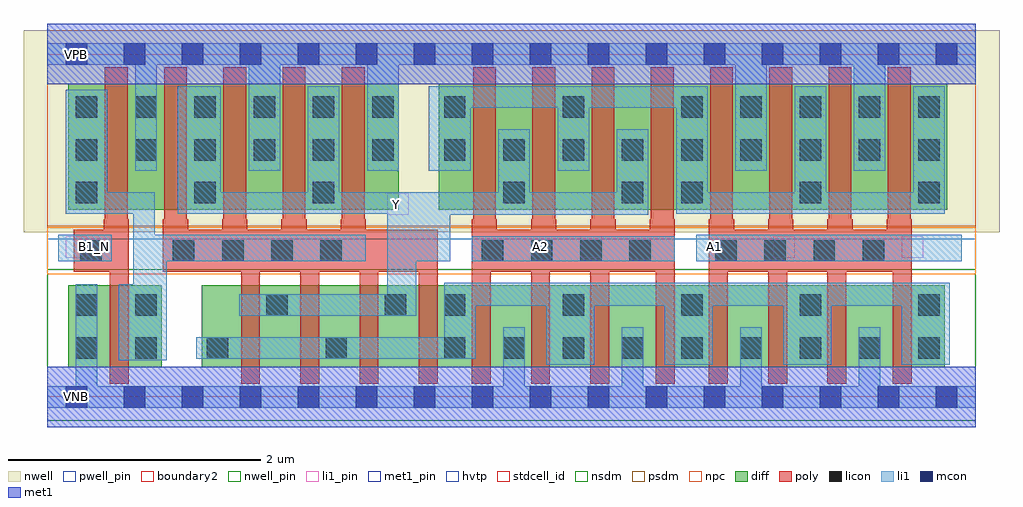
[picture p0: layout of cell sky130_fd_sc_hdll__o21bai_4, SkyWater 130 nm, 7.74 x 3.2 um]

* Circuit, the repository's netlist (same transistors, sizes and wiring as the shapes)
* Copyright 2020 The SkyWater PDK Authors
*
* Licensed under the Apache License, Version 2.0 (the "License");
* you may not use this file except in compliance with the License.
* You may obtain a copy of the License at
*
*     https://www.apache.org/licenses/LICENSE-2.0
*
* Unless required by applicable law or agreed to in writing, software
* distributed under the License is distributed on an "AS IS" BASIS,
* WITHOUT WARRANTIES OR CONDITIONS OF ANY KIND, either express or implied.
* See the License for the specific language governing permissions and
* limitations under the License.
*
* SPDX-License-Identifier: Apache-2.0

.SUBCKT sky130_fd_sc_hdll__o21bai_4 A1 A2 B1_N VGND VNB VPB VPWR Y
*.PININFO A1:I A2:I B1_N:I VGND:I VNB:I VPB:I VPWR:I Y:O
MMPA0 VPWR A1 sndA1 VPB sky130_fd_pr__pfet_01v8_hvt m=4 w=1.0U l=0.18U mult=1 sa=0.265
+ sb=0.265 sd=0.28 area=0.063 perim=1.14
MMPA1 sndA1 A2 Y VPB sky130_fd_pr__pfet_01v8_hvt m=4 w=1.0U l=0.18U mult=1 sa=0.265
+ sb=0.265 sd=0.28 area=0.063 perim=1.14
MMPB0 VPWR B1 Y VPB sky130_fd_pr__pfet_01v8_hvt m=4 w=1.0U l=0.18U mult=1 sa=0.265
+ sb=0.265 sd=0.28 area=0.063 perim=1.14
MMIPB1N B1 B1_N VPWR VPB sky130_fd_pr__pfet_01v8_hvt m=1 w=1.0U l=0.18U mult=1
+ sa=0.265 sb=0.265 sd=0.28 area=0.063 perim=1.14
MMNA0 pndA A1 VGND VNB sky130_fd_pr__nfet_01v8 m=4 w=0.65U l=0.15U mult=1 sa=0.265
+ sb=0.265 sd=0.28 area=0.063 perim=1.14
MMNA1 pndA A2 VGND VNB sky130_fd_pr__nfet_01v8 m=4 w=0.65U l=0.15U mult=1 sa=0.265
+ sb=0.265 sd=0.28 area=0.063 perim=1.14
MMNB0 Y B1 pndA VNB sky130_fd_pr__nfet_01v8 m=4 w=0.65U l=0.15U mult=1 sa=0.265
+ sb=0.265 sd=0.28 area=0.063 perim=1.14
MMINB1N B1 B1_N VGND VNB sky130_fd_pr__nfet_01v8 m=1 w=0.65U l=0.15U mult=1 sa=0.265
+ sb=0.265 sd=0.28 area=0.063 perim=1.14
.ENDS sky130_fd_sc_hdll__o21bai_4

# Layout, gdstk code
import gdstk
lib = gdstk.Library(unit=1e-6, precision=1e-09)
def R(c, l, rs):  # rectangles x0, y0, x1, y1
    for r in rs: c.add(gdstk.rectangle(r[:2], r[2:], *l))
def A(c, l, x, y, w, h, nx, ny, dx, dy):  # array of equal rectangles
    R(c, l, [(x+i*dx, y+j*dy, x+i*dx+w, y+j*dy+h) for i in range(nx) for j in range(ny)])
def P(c, l, *ps):  # polygons
    for p in ps: c.add(gdstk.Polygon(p, *l))
nwell_pin = (64, 16)
nwell = (64, 20)
diff = (65, 20)
poly = (66, 20)
licon = (66, 44)
li1_pin = (67, 16)
li1 = (67, 20)
mcon = (67, 44)
met1_pin = (68, 16)
met1 = (68, 20)
hvtp = (78, 44)
stdcell_id = (81, 4)
nsdm = (93, 44)
psdm = (94, 20)
npc = (95, 20)
pwell_pin = (122, 16)
boundary2 = (236, 0)

sky130_fd_sc_hdll__o21ba = lib.new_cell('sky130_fd_sc_hdll__o21bai_4')
R(sky130_fd_sc_hdll__o21ba, nwell_pin, [(0.145,2.635,0.315,2.805)])
R(sky130_fd_sc_hdll__o21ba, nwell, [(-0.19,1.305,7.55,2.91)])
R(sky130_fd_sc_hdll__o21ba, diff, [(0.165,0.235,0.905,0.885), (1.225,0.235,7.115,0.885), (0.165,1.485,2.785,2.485), (3.105,1.485,7.135,2.485)])
P(sky130_fd_sc_hdll__o21ba, poly, [(0.645,1.41),(0.635,1.41),(0.635,2.615),(0.455,2.615),(0.455,1.41),(0.445,1.41),(0.445,1.325),(0.21,1.325),(0.21,0.995),(0.495,0.995),(0.495,0.105),(0.645,0.105)],
  [(3.095,1.325),(2.525,1.325),(2.525,1.41),(2.515,1.41),(2.515,2.615),(2.335,2.615),(2.335,1.41),(2.325,1.41),(2.325,1.325),(2.055,1.325),(2.055,1.41),(2.045,1.41),(2.045,2.615),(1.865,2.615),(1.865,1.41),(1.855,1.41),(1.855,1.325),(1.585,1.325),(1.585,1.41),(1.575,1.41),(1.575,2.615),(1.395,2.615),(1.395,1.41),(1.385,1.41),(1.385,1.325),(1.115,1.325),(1.115,1.41),(1.105,1.41),(1.105,2.615),(0.925,2.615),(0.925,1.41),(0.915,1.41),(0.915,0.995),(1.535,0.995),(1.535,0.105),(1.685,0.105),(1.685,0.995),(2.005,0.995),(2.005,0.105),(2.155,0.105),(2.155,0.995),(2.475,0.995),(2.475,0.105),(2.625,0.105),(2.625,0.995),(2.945,0.995),(2.945,0.105),(3.095,0.105)],
  [(4.975,1.41),(4.965,1.41),(4.965,2.615),(4.785,2.615),(4.785,1.41),(4.775,1.41),(4.775,1.325),(4.505,1.325),(4.505,1.41),(4.495,1.41),(4.495,2.615),(4.315,2.615),(4.315,1.41),(4.305,1.41),(4.305,1.325),(4.035,1.325),(4.035,1.41),(4.025,1.41),(4.025,2.615),(3.845,2.615),(3.845,1.41),(3.835,1.41),(3.835,1.325),(3.565,1.325),(3.565,1.41),(3.555,1.41),(3.555,2.615),(3.375,2.615),(3.375,1.41),(3.365,1.41),(3.365,0.105),(3.515,0.105),(3.515,0.995),(3.835,0.995),(3.835,0.105),(3.985,0.105),(3.985,0.995),(4.305,0.995),(4.305,0.105),(4.455,0.105),(4.455,0.995),(4.825,0.995),(4.825,0.105),(4.975,0.105)],
  [(6.855,1.41),(6.845,1.41),(6.845,2.615),(6.665,2.615),(6.665,1.41),(6.655,1.41),(6.655,1.325),(6.385,1.325),(6.385,1.41),(6.375,1.41),(6.375,2.615),(6.195,2.615),(6.195,1.41),(6.185,1.41),(6.185,1.325),(5.915,1.325),(5.915,1.41),(5.905,1.41),(5.905,2.615),(5.725,2.615),(5.725,1.41),(5.715,1.41),(5.715,1.325),(5.445,1.325),(5.445,1.41),(5.435,1.41),(5.435,2.615),(5.255,2.615),(5.255,1.41),(5.245,1.41),(5.245,0.105),(5.395,0.105),(5.395,0.995),(5.715,0.995),(5.715,0.105),(5.865,0.105),(5.865,0.995),(6.185,0.995),(6.185,0.105),(6.335,0.105),(6.335,0.995),(6.705,0.995),(6.705,0.105),(6.855,0.105)])
A(sky130_fd_sc_hdll__o21ba, licon, 1.265, 0.305, 0.17, 0.17, 3, 1, 0.94, 0)
A(sky130_fd_sc_hdll__o21ba, licon, 3.615, 0.305, 0.17, 0.17, 8, 1, 0.47, 0)
A(sky130_fd_sc_hdll__o21ba, licon, 3.145, 0.645, 0.17, 0.17, 5, 1, 0.94, 0)
A(sky130_fd_sc_hdll__o21ba, licon, 0.995, 1.075, 0.17, 0.17, 4, 1, 0.39, 0)
A(sky130_fd_sc_hdll__o21ba, licon, 3.445, 1.075, 0.17, 0.17, 4, 1, 0.39, 0)
A(sky130_fd_sc_hdll__o21ba, licon, 5.295, 1.075, 0.17, 0.17, 4, 1, 0.39, 0)
A(sky130_fd_sc_hdll__o21ba, licon, 0.225, 1.535, 0.17, 0.17, 3, 1, 0.94, 0)
A(sky130_fd_sc_hdll__o21ba, licon, 5.025, 1.535, 0.17, 0.17, 3, 1, 0.94, 0)
A(sky130_fd_sc_hdll__o21ba, licon, 0.225, 1.875, 0.17, 0.17, 6, 2, 0.47, 0.34)
A(sky130_fd_sc_hdll__o21ba, licon, 3.145, 1.875, 0.17, 0.17, 9, 1, 0.47, 0)
A(sky130_fd_sc_hdll__o21ba, licon, 3.145, 2.215, 0.17, 0.17, 3, 1, 0.94, 0)
A(sky130_fd_sc_hdll__o21ba, licon, 5.495, 2.215, 0.17, 0.17, 4, 1, 0.47, 0)
R(sky130_fd_sc_hdll__o21ba, licon, [(0.225,0.305,0.395,0.475), (0.695,0.305,0.865,0.475), (0.225,0.645,0.395,0.815), (0.695,0.645,0.865,0.815), (1.735,0.645,1.905,0.815), (2.675,0.645,2.845,0.815), (0.26,1.075,0.43,1.245), (3.615,1.535,3.785,1.705), (4.555,1.535,4.725,1.705)])
R(sky130_fd_sc_hdll__o21ba, li1_pin, [(0.145,1.105,0.315,1.275), (4.225,1.105,4.395,1.275), (5.755,1.105,5.925,1.275), (6.775,1.105,6.945,1.275), (2.695,1.445,2.865,1.615)])
R(sky130_fd_sc_hdll__o21ba, li1, [(0.085,1.075,0.51,1.285), (3.365,1.075,4.975,1.275), (5.145,1.075,7.25,1.285)])
P(sky130_fd_sc_hdll__o21ba, li1, [(2.525,1.285),(0.85,1.285),(0.85,1.625),(0.475,1.625),(0.475,2.435),(0.145,2.435),(0.145,1.455),(0.68,1.455),(0.68,0.895),(0.565,0.895),(0.565,0.29),(0.945,0.29),(0.945,1.075),(2.525,1.075)],
  [(4.765,2.125),(4.515,2.125),(4.515,1.625),(3.825,1.625),(3.825,2.125),(3.575,2.125),(3.575,1.625),(2.315,1.625),(2.315,2.465),(2.065,2.465),(2.065,1.625),(1.375,1.625),(1.375,2.465),(1.035,2.465),(1.035,1.455),(2.695,1.455),(2.695,0.815),(1.52,0.815),(1.52,0.645),(2.925,0.645),(2.925,1.075),(3.195,1.075),(3.195,1.445),(4.765,1.445)],
  [(7.36,0.085),(6.605,0.085),(6.605,0.555),(6.435,0.555),(6.435,0.085),(5.665,0.085),(5.665,0.555),(5.495,0.555),(5.495,0.085),(4.725,0.085),(4.725,0.555),(4.555,0.555),(4.555,0.085),(3.785,0.085),(3.785,0.555),(3.615,0.555),(3.615,0.085),(0.395,0.085),(0.395,0.895),(0.225,0.895),(0.225,0.085),(0,0.085),(0,-0.085),(7.36,-0.085)],
  [(7.36,2.805),(0,2.805),(0,2.635),(0.695,2.635),(0.695,1.795),(0.865,1.795),(0.865,2.635),(1.595,2.635),(1.595,1.795),(1.845,1.795),(1.845,2.635),(2.535,2.635),(2.535,1.795),(2.785,1.795),(2.785,2.635),(5.455,2.635),(5.455,1.795),(5.705,1.795),(5.705,2.635),(6.395,2.635),(6.395,1.795),(6.645,1.795),(6.645,2.635),(7.36,2.635)],
  [(7.115,2.465),(6.865,2.465),(6.865,1.625),(6.175,1.625),(6.175,2.465),(5.925,2.465),(5.925,1.625),(5.235,1.625),(5.235,2.465),(3.025,2.465),(3.025,1.795),(3.355,1.795),(3.355,2.295),(4.045,2.295),(4.045,1.795),(4.295,1.795),(4.295,2.295),(4.985,2.295),(4.985,1.455),(7.115,1.455)],
  [(7.155,0.905),(3.145,0.905),(3.145,0.475),(1.18,0.475),(1.18,0.305),(3.395,0.305),(3.395,0.725),(3.955,0.725),(3.955,0.255),(4.335,0.255),(4.335,0.725),(4.895,0.725),(4.895,0.255),(5.275,0.255),(5.275,0.725),(5.835,0.725),(5.835,0.255),(6.215,0.255),(6.215,0.725),(6.775,0.725),(6.775,0.255),(7.155,0.255)])
A(sky130_fd_sc_hdll__o21ba, mcon, 0.145, -0.085, 0.17, 0.17, 16, 2, 0.46, 2.72)
R(sky130_fd_sc_hdll__o21ba, met1_pin, [(0.145,-0.085,0.315,0.085), (0.145,2.635,0.315,2.805)])
R(sky130_fd_sc_hdll__o21ba, met1, [(0,-0.24,7.36,0.24), (0,2.48,7.36,2.96)])
R(sky130_fd_sc_hdll__o21ba, hvtp, [(0,1.25,7.36,2.72)])
R(sky130_fd_sc_hdll__o21ba, stdcell_id, [(0,0,7.36,2.72)])
R(sky130_fd_sc_hdll__o21ba, nsdm, [(0,-0.19,7.36,1.015)])
R(sky130_fd_sc_hdll__o21ba, psdm, [(0,1.355,7.36,2.91)])
R(sky130_fd_sc_hdll__o21ba, npc, [(0,0.975,7.36,1.345)])
R(sky130_fd_sc_hdll__o21ba, pwell_pin, [(0.145,-0.085,0.315,0.085)])
R(sky130_fd_sc_hdll__o21ba, boundary2, [(0,0,7.36,2.72)])
sky130_fd_sc_hdll__o21ba.add(gdstk.Label('Y', (2.77,1.53), layer=67, texttype=5))
sky130_fd_sc_hdll__o21ba.add(gdstk.Label('B1_N', (0.375,1.19), layer=67, texttype=5))
sky130_fd_sc_hdll__o21ba.add(gdstk.Label('A1', (5.29,1.19), layer=67, texttype=5))
sky130_fd_sc_hdll__o21ba.add(gdstk.Label('A2', (3.91,1.19), layer=67, texttype=5))
sky130_fd_sc_hdll__o21ba.add(gdstk.Label('VNB', (0.23,0), layer=64, texttype=59))
sky130_fd_sc_hdll__o21ba.add(gdstk.Label('VPB', (0.23,2.72), layer=64, texttype=5))
sky130_fd_sc_hdll__o21ba.add(gdstk.Label('VGND', (0.23,0), layer=68, texttype=5))
sky130_fd_sc_hdll__o21ba.add(gdstk.Label('VPWR', (0.23,2.72), layer=68, texttype=5))
sky130_fd_sc_hdll__o21ba.add(gdstk.Label('o21bai_4', (0,0), layer=83, texttype=44))

lib.write_gds('sky130_fd_sc_hdll__o21bai_4.gds')
